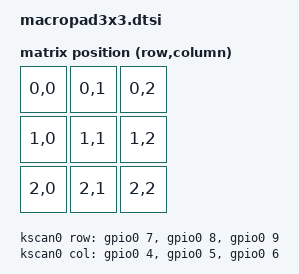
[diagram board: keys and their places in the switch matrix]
/ {
    chosen {
        zmk,kscan = &kscan0;
        zmk,physical-layout = &macropad3x3_layout;
        zmk,matrix-transform = &default_transform;
    };

    default_transform: keymap_transform_0 {
        compatible = "zmk,matrix-transform";
        columns = <3>;
        rows = <3>;
        map = 
            RC(0,0) RC(0,1) RC(0,2)
            RC(1,0) RC(1,1) RC(1,2)
            RC(2,0) RC(2,1) RC(2,2)
        >;
    };

    macropad3x3_layout: macropad3x3_layout {
        compatible = "zmk,physical-layout";
        display-name = "3x3 Macropad";

        transform = <&default_transform>;
        kscan = <&kscan0>;

        keys  //                     w   h    x    y     rot    rx    ry
            = <&key_physical_attrs 100 100    0    0       0     0     0>
            , <&key_physical_attrs 100 100  100    0       0     0     0>
            , <&key_physical_attrs 100 100  200    0       0     0     0>
            , <&key_physical_attrs 100 100    0  100       0     0     0>
            , <&key_physical_attrs 100 100  100  100       0     0     0>
            , <&key_physical_attrs 100 100  200  100       0     0     0>
            , <&key_physical_attrs 100 100    0  200       0     0     0>
            , <&key_physical_attrs 100 100  100  200       0     0     0>
            , <&key_physical_attrs 100 100  200  200       0     0     0>
            ;
    };

    kscan0: kscan {
        compatible = "zmk,kscan-gpio-matrix";
        label = "KSCAN";
        diode-direction = "col2row";

        col-gpios
            = <&gpio0 4 GPIO_ACTIVE_HIGH>
            , <&gpio0 5 GPIO_ACTIVE_HIGH>
            , <&gpio0 6 GPIO_ACTIVE_HIGH>
            ;

        row-gpios
            = <&gpio0 7 (GPIO_ACTIVE_HIGH | GPIO_PULL_DOWN)>
            , <&gpio0 8 (GPIO_ACTIVE_HIGH | GPIO_PULL_DOWN)>
            , <&gpio0 9 (GPIO_ACTIVE_HIGH | GPIO_PULL_DOWN)>
            ;
    };
};
